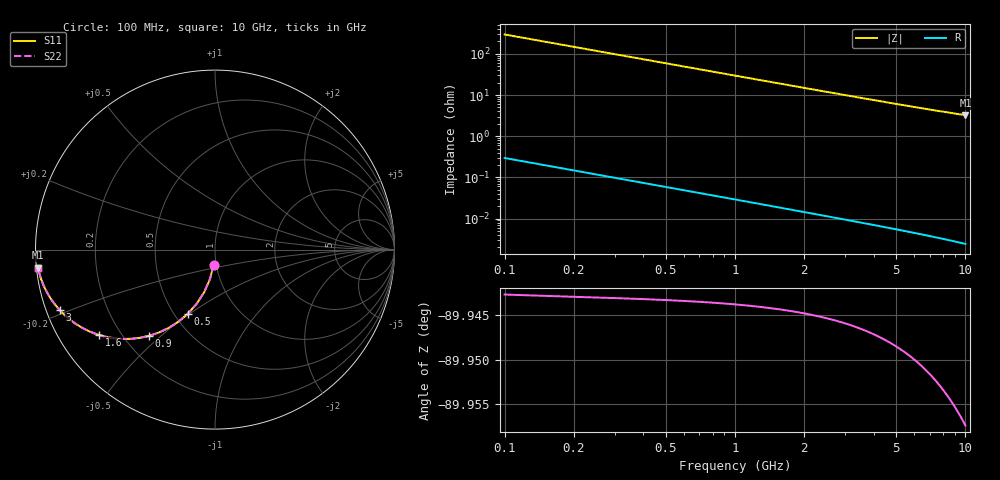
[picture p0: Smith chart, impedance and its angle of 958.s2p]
# Hz S RI R 50.00
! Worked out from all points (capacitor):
!   100 points, 100 MHz to 10 GHz, reference 50 ohm
!   read as one part in shunt: C = 5.38 pF near 100 MHz
!   lowest |Z| = 3.25 ohm at 10 GHz (marker M1)
!   S11 on the Smith chart (normalised r, x): 100 MHz: 0.97, -0.16; 500 MHz: 0.58, -0.49; 900 MHz: 0.30, -0.46; 1.6 GHz: 0.12, -0.32; 3 GHz: 0.04, -0.19; 10 GHz: 0.00, -0.05
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1e8  -0.00716 -0.0838  0.9928 -0.0841  0.9928 -0.0841  -0.00716 -0.0838
2e8  -0.0279 -0.1641  0.972 -0.1646  0.972 -0.1646  -0.0279 -0.1641
3e8  -0.0606 -0.2378  0.9393 -0.2386  0.9393 -0.2386  -0.0606 -0.2378
4e8  -0.1028 -0.3028  0.8971 -0.3038  0.8971 -0.3038  -0.1028 -0.3028
5e8  -0.1518 -0.3577  0.8482 -0.359  0.8482 -0.359  -0.1518 -0.3577
6e8  -0.2048 -0.4023  0.7952 -0.4038  0.7952 -0.4038  -0.2048 -0.4023
7e8  -0.2594 -0.4369  0.7405 -0.4387  0.7405 -0.4387  -0.2594 -0.4369
9e8  -0.3665 -0.4802  0.6335 -0.4825  0.6335 -0.4825  -0.3665 -0.4802
1.2e9  -0.5066 -0.4979  0.4933 -0.501  0.4933 -0.501  -0.5066 -0.4979
1.4e9  -0.5827 -0.4908  0.4172 -0.4944  0.4172 -0.4944  -0.5827 -0.4908
1.6e9  -0.6457 -0.4757  0.3542 -0.4799  0.3542 -0.4799  -0.6457 -0.4757
1.8e9  -0.6974 -0.4565  0.3025 -0.4612  0.3025 -0.4612  -0.6974 -0.4565
2e9  -0.7399 -0.4356  0.2601 -0.4408  0.2601 -0.4408  -0.7399 -0.4356
2.3e9  -0.7898 -0.4039  0.2101 -0.4099  0.2101 -0.4099  -0.7898 -0.4039
2.6e9  -0.8275 -0.3738  0.1724 -0.3807  0.1724 -0.3807  -0.8275 -0.3738
3e9  -0.8646 -0.3377  0.1354 -0.3456  0.1354 -0.3456  -0.8646 -0.3377
3.4e9  -0.8912 -0.3063  0.1087 -0.3153  0.1087 -0.3153  -0.8912 -0.3063
4.2e9  -0.9259 -0.2557  0.0739 -0.2669  0.0739 -0.2669  -0.9259 -0.2557
5.1e9  -0.9486 -0.2133  0.0513 -0.227  0.0513 -0.227  -0.9486 -0.2133
6.7e9  -0.9697 -0.1614  0.0301 -0.1797  0.0301 -0.1797  -0.9697 -0.1614
8.4e9  -0.9807 -0.1249  0.019 -0.1482  0.019 -0.1482  -0.9807 -0.1249
1e10  -0.9864 -0.1002  0.0131 -0.1283  0.0131 -0.1283  -0.9864 -0.1002
